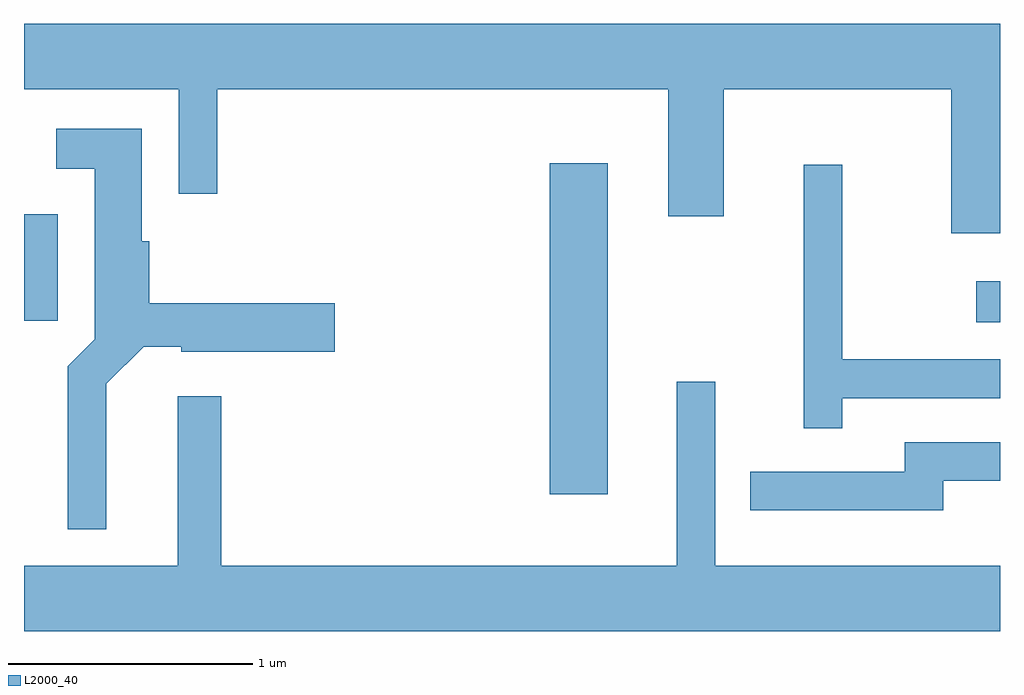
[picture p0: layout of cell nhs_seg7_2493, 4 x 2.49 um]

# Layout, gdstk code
import gdstk
lib = gdstk.Library(unit=1e-6, precision=1e-09)
def R(c, l, rs):  # rectangles x0, y0, x1, y1
    for r in rs: c.add(gdstk.rectangle(r[:2], r[2:], *l))
def P(c, l, *ps):  # polygons
    for p in ps: c.add(gdstk.Polygon(p, *l))
L2000_40 = (2000, 40)

nhs_seg7_2493 = lib.new_cell('nhs_seg7_2493')
R(nhs_seg7_2493, L2000_40, [(263.766,1719.316,264.004,1720.674), (265.513,1720.021,265.611,1720.189), (261.611,1720.028,261.749,1720.464)])
P(nhs_seg7_2493, L2000_40, [(265.611,1721.244),(261.611,1721.244),(261.611,1720.976),(262.246,1720.976),(262.246,1720.548),(262.404,1720.548),(262.404,1720.976),(264.251,1720.976),(264.251,1720.456),(264.479,1720.456),(264.479,1720.976),(265.411,1720.976),(265.411,1720.386),(265.611,1720.386)],
  [(261.949,1719.769),(262.102,1719.921),(262.256,1719.921),(262.256,1719.901),(262.884,1719.901),(262.884,1720.099),(262.124,1720.099),(262.124,1720.354),(262.094,1720.354),(262.094,1720.814),(261.743,1720.814),(261.743,1720.651),(261.901,1720.651),(261.901,1719.952),(261.791,1719.842),(261.791,1719.173),(261.949,1719.173)],
  [(264.964,1719.711),(265.611,1719.711),(265.611,1719.869),(264.964,1719.869),(264.964,1720.668),(264.806,1720.668),(264.806,1719.588),(264.964,1719.588)],
  [(265.611,1719.024),(264.444,1719.024),(264.444,1719.778),(264.286,1719.778),(264.286,1719.024),(262.419,1719.024),(262.419,1719.719),(262.241,1719.719),(262.241,1719.024),(261.611,1719.024),(261.611,1718.756),(265.611,1718.756)],
  [(265.379,1719.371),(265.611,1719.371),(265.611,1719.529),(265.221,1719.529),(265.221,1719.409),(264.588,1719.409),(264.588,1719.251),(265.379,1719.251)])

lib.write_gds('nhs_seg7_2493.gds')
